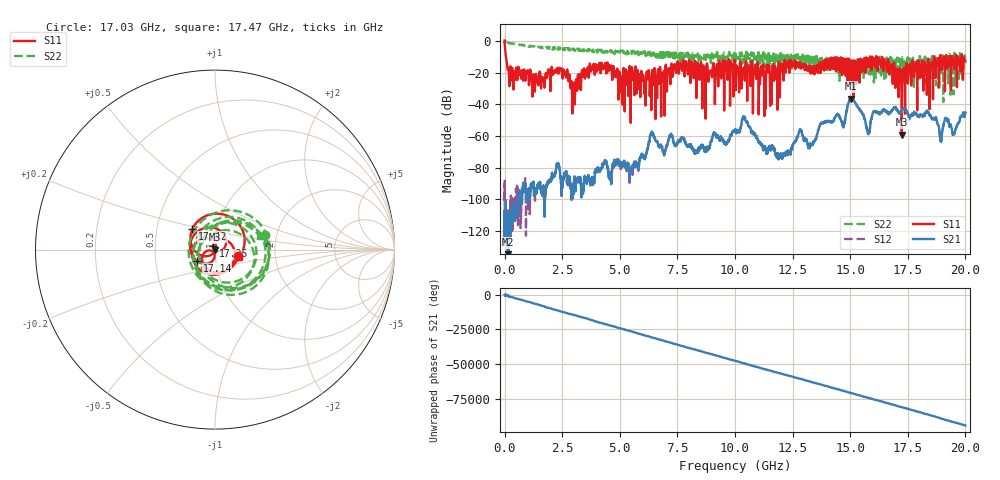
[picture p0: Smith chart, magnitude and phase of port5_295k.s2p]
! MS46122B
! 2250307/22442219
! 7/31/2025 8:36:13 AM
! C:\USERS\SPARKY\DOCUMENTS\VNA_DATA\JULY31_2025\295K\PORT5.S2P
! CHANNEL.1
! TR.MEASUREMENT
! RAW.DATA
# GHZ S RI R 50.0
! FREQ.GHZ  S11RE  S11IM  S21RE  S21IM  S12RE  S12IM  S22RE  S22IM
!; PortSelection: Port_12
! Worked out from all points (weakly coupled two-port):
!   10001 points, 1 MHz to 20 GHz, reference 50 ohm
!   highest |S21| = -36.31 dB at 15.05 GHz (marker M1); lowest = -137.0 dB at 151 MHz (marker M2)
!   lowest |S11| = -59.2 dB at 17.24 GHz (marker M3), VSWR 1.00, Z = 50 - j0.103 ohm
!   |S11| at or under -10 dB: 57.56 MHz to 15.87 GHz (15.81 GHz wide, 199 % of centre); 16.14 GHz to 18.64 GHz (2.493 GHz wide, 14.3 % of centre); 18.66 GHz to 18.89 GHz (229.2 MHz wide, 1.22 % of centre) (the widest 3 of 13)
!   |S22| runs from -38.5 to 0.0 dB; largest |S21 - S12| = 0.0018
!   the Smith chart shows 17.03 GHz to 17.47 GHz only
!   S11 on the Smith chart (normalised r, x): 17.03 GHz: 1.29, -0.10; 17.14 GHz: 0.81, -0.10; 17.25 GHz: 0.98, +0.04; 17.42 GHz: 0.76, +0.18; 17.47 GHz: 1.30, -0.10
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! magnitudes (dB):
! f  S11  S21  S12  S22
! 1 MHz  0.4  -107.5  -95.1  -0.1
! 151 MHz  -17.6  -137.0  -120.5  -1.2
! 3.335 GHz  -21.8  -98.3  -97.1  -5.4
! 5.497 GHz  -19.5  -81.3  -82.3  -7.0
! 6.391 GHz  -22.7  -57.5  -57.4  -7.0
! 6.669 GHz  -17.9  -65.7  -66.0  -7.4
! 10 GHz  -12.9  -56.5  -56.5  -14.5
! 10.43 GHz  -24.5  -47.8  -48.3  -10.5
! 11.86 GHz  -19.8  -71.4  -71.6  -12.7
! 12.82 GHz  -13.1  -55.7  -56.3  -14.1
! 13.33 GHz  -16.7  -65.4  -65.3  -12.4
! 15.05 GHz  -18.0  -36.3  -36.4  -22.4
! 15.78 GHz  -12.1  -58.9  -59.1  -11.2
! 16.67 GHz  -13.9  -46.4  -46.5  -10.4
! 17.03 GHz  -17.4  -43.3  -43.5  -10.8
! 17.14 GHz  -18.5  -45.7  -45.8  -14.0
! 17.24 GHz  -59.2  -44.0  -44.0  -18.5
! 17.25 GHz  -33.4  -43.8  -43.8  -14.5
! 17.42 GHz  -15.3  -43.4  -43.6  -13.0
! 17.47 GHz  -17.1  -44.9  -45.0  -11.7
! 18.94 GHz  -11.8  -63.3  -63.4  -17.2
! 20 GHz  -12.3  -45.1  -45.8  -14.2
